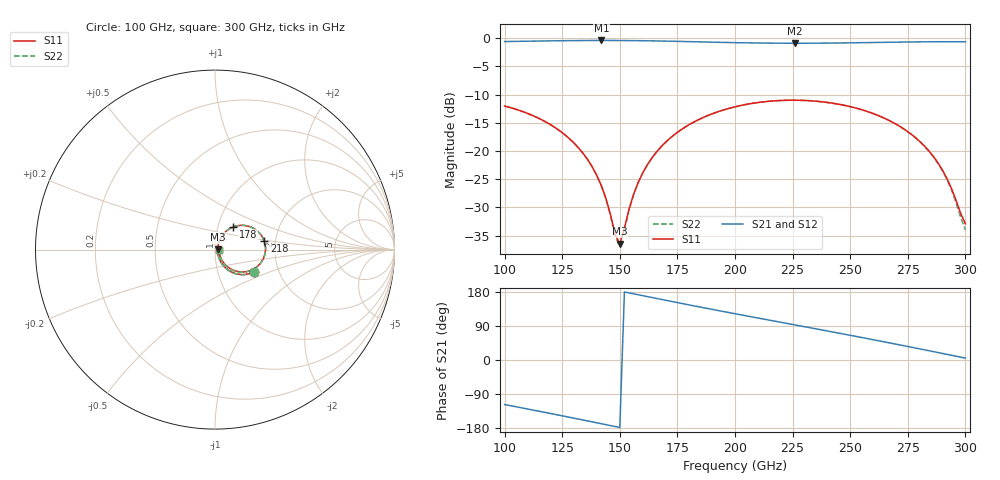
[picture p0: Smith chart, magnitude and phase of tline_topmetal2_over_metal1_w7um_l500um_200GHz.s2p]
#  GHZ S DB R 50
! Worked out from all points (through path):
!   101 points, 100 GHz to 300 GHz, reference 50 ohm
!   highest |S21| = -0.42 dB at 142 GHz (marker M1); lowest = -0.9 dB at 226 GHz (marker M2)
!   group delay of S21, straight-line fit = 3.28 ps
!   lowest |S11| = -36.4 dB at 150 GHz (marker M3), VSWR 1.03, Z = 51.5 + j0.187 ohm
!   |S11| at or under -10 dB: start of sweep to end of sweep
!   |S22| runs from -36.9 to -11.0 dB; largest |S21 - S12| = 1.1e-14
!   S11 on the Smith chart (normalised r, x): 100 GHz: 1.49, -0.39; 178 GHz: 1.18, +0.31; 218 GHz: 1.75, +0.17; 300 GHz: 1.05, -0.01
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100  -12.04 -29.5  -0.61 -117.6  -0.61 -117.6  -12.04 -29.7
120  -15.36 -50.5  -0.49 -141.3  -0.49 -141.3  -15.36 -50.9
134  -20.38 -62.9  -0.43 -158.3  -0.43 -158.3  -20.39 -63.4
142  -26.15 -63.6  -0.42 -168.1  -0.42 -168.1  -26.20 -64.6
144  -28.44 -60.4  -0.42 -170.6  -0.42 -170.6  -28.52 -61.6
148  -34.82 -32.8  -0.43 -175.5  -0.43 -175.5  -35.14 -34.3
150  -36.41 6.9  -0.43 -178.0  -0.43 -178.0  -36.86 7.3
154  -30.34 55.0  -0.44 177.1  -0.44 177.1  -30.44 56.1
158  -25.55 63.3  -0.46 172.1  -0.46 172.1  -25.58 63.9
162  -22.41 63.7  -0.48 167.2  -0.48 167.2  -22.43 64.1
168  -19.22 60.2  -0.52 159.9  -0.52 159.9  -19.23 60.5
178  -15.86 51.3  -0.61 147.9  -0.61 147.9  -15.86 51.4
200  -12.18 28.6  -0.81 122.1  -0.81 122.1  -12.18 28.5
218  -11.09 9.5  -0.90 101.7  -0.90 101.7  -11.10 9.3
226  -11.01 1.0  -0.91 92.6  -0.91 92.6  -11.01 0.8
234  -11.14 -7.5  -0.90 83.5  -0.90 83.5  -11.15 -7.8
252  -12.35 -26.5  -0.83 62.9  -0.83 62.9  -12.35 -26.9
268  -14.82 -42.8  -0.73 44.0  -0.73 44.0  -14.84 -43.5
280  -18.24 -53.2  -0.67 29.5  -0.67 29.5  -18.27 -54.4
288  -22.05 -56.7  -0.65 19.8  -0.65 19.8  -22.12 -58.6
294  -26.68 -51.5  -0.64 12.4  -0.64 12.4  -26.91 -54.6
300  -32.89 -9.8  -0.65 5.0  -0.65 5.0  -33.98 -11.6
